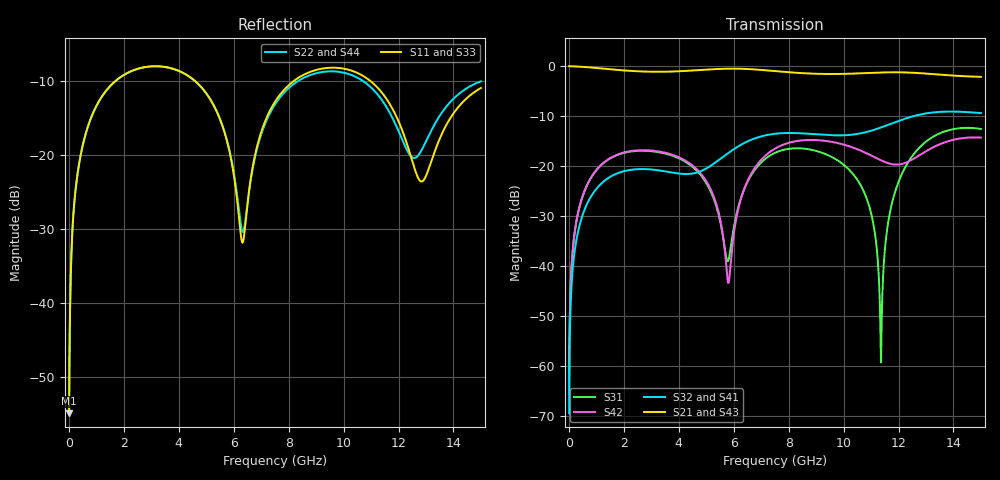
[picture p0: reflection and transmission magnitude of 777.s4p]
! Created with skrf 1.8.0 (http://scikit-rf.org).
# GHz S RI R 50.0
!freq ReS11 ImS11 ReS12 ImS12 ReS13 ImS13
! ReS14 ImS14
! ReS21 ImS21 ReS22 ImS22 ReS23 ImS23
! ReS24 ImS24
! ReS31 ImS31 ReS32 ImS32 ReS33 ImS33
! ReS34 ImS34
! ReS41 ImS41 ReS42 ImS42 ReS43 ImS43
! ReS44 ImS44
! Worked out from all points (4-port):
!   2499 points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, 5 MHz to 15 GHz, reference 50 ohm
!   strongest paths, dB at 5 MHz, 3.476 GHz, 7.19 GHz, 11.1 GHz, 15 GHz:
!     S21: 0.0, -1.1, -0.8, -1.3, -2.1
!     S43: 0.0, -1.1, -0.8, -1.3, -2.2
!     S32: -69.4, -21.0, -13.8, -12.7, -9.4
!     S41: -69.4, -21.0, -13.8, -12.8, -9.4
!     S42: -65.6, -17.3, -17.7, -18.1, -14.3
!     S31: -65.6, -17.4, -18.4, -31.9, -12.6
!   lowest |S11| = -54.9 dB at 5 MHz (marker M1), VSWR 1.00, Z = 50.1 + j0.109 ohm
!   |S11| at or under -10 dB: start of sweep to 1.687 GHz; 4.597 GHz to 8.182 GHz (3.585 GHz wide, 56.1 % of centre); 10.98 GHz to end of sweep
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0.005  0.00142 0.00109  0.9986 -0.00277  6.93e-05 0.000522  -6.76e-05 -0.000333
       0.9986 -0.00277  0.00142 0.00109  -6.76e-05 -0.000333  6.94e-05 0.000522
       6.93e-05 0.000522  -6.76e-05 -0.000333  0.00142 0.00109  0.9986 -0.00277
       -6.76e-05 -0.000333  6.94e-05 0.000522  0.9986 -0.00277  0.00142 0.00109
0.3126303  0.0189 0.0724  0.9744 -0.1733  0.00781 0.0315  -0.00666 -0.02
           0.9744 -0.1733  0.0189 0.0724  -0.00666 -0.02  0.008 0.0314
           0.00781 0.0315  -0.00666 -0.02  0.0189 0.0724  0.9744 -0.1733
           -0.00666 -0.02  0.008 0.0314  0.9744 -0.1733  0.0189 0.0724
1.569404  0.2325 0.1925  0.6301 -0.6792  0.1032 0.0663  -0.0781 -0.0185
          0.6301 -0.6792  0.2316 0.193  -0.0781 -0.0185  0.1059 0.0633
          0.1032 0.0663  -0.0781 -0.0185  0.2326 0.1925  0.6301 -0.6792
          -0.0781 -0.0185  0.1059 0.0633  0.6301 -0.6792  0.2317 0.193
6.340142  0.0258 0.00317  -0.9383 -0.044  -0.00201 0.0553  -0.00353 0.1681
          -0.9383 -0.044  0.0302 0.000967  -0.00272 0.1681  0.0123 0.0537
          -0.00201 0.0553  -0.00272 0.1681  0.0271 0.00199  -0.9383 -0.0441
          -0.00353 0.1681  0.0123 0.0537  -0.9383 -0.0441  0.029 -0.000207
10.06044  0.3731 -0.0825  0.1169 0.8289  0.0902 -0.0438  0.1907 -0.0719
          0.1169 0.8289  0.3539 -0.0574  0.1904 -0.0732  0.079 -0.1422
          0.0902 -0.0438  0.1904 -0.0732  0.3721 -0.0842  0.1179 0.8289
          0.1907 -0.0719  0.079 -0.1422  0.1179 0.8289  0.3534 -0.0566
11.36098  0.1996 -0.1804  0.5953 0.6244  0.000985 0.00048  0.1723 -0.1725
          0.5953 0.6244  0.1975 -0.1366  0.171 -0.1739  -0.0724 -0.0888
          0.000985 0.00048  0.171 -0.1739  0.1984 -0.1805  0.5967 0.6233
          0.1723 -0.1725  -0.0724 -0.0888  0.5967 0.6233  0.1966 -0.1361
15  0.2698 0.0888  0.4438 -0.6427  0.2352 -0.016  -0.3147 -0.1266
    0.4438 -0.6427  0.307 0.0716  -0.3162 -0.1238  0.1925 0.0139
    0.2352 -0.016  -0.3162 -0.1238  0.2727 0.0878  0.4404 -0.6437
    -0.3147 -0.1266  0.1925 0.0139  0.4404 -0.6437  0.3096 0.0733
